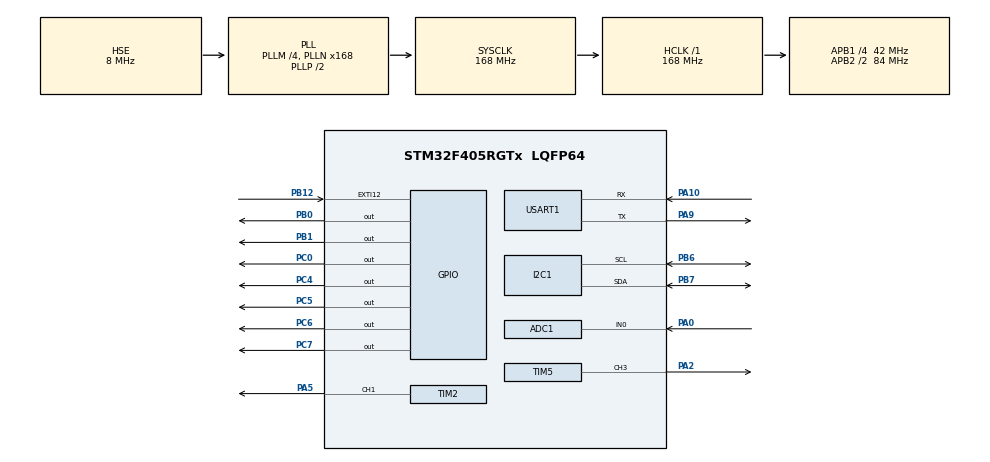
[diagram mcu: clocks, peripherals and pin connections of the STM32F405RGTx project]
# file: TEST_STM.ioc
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ADC1.Channel-2\#ChannelRegularConversion=ADC_CHANNEL_0
ADC1.ContinuousConvMode=ENABLE
ADC1.DMAContinuousRequests=ENABLE
ADC1.NbrOfConversionFlag=1
ADC1.Rank-2\#ChannelRegularConversion=1
ADC1.SamplingTime-2\#ChannelRegularConversion=ADC_SAMPLETIME_56CYCLES
ADC1.master=1
Dma.ADC1.0.Direction=DMA_PERIPH_TO_MEMORY
Dma.ADC1.0.FIFOMode=DMA_FIFOMODE_DISABLE
Dma.ADC1.0.Instance=DMA2_Stream0
Dma.ADC1.0.MemDataAlignment=DMA_MDATAALIGN_HALFWORD
Dma.ADC1.0.MemInc=DMA_MINC_ENABLE
Dma.ADC1.0.Mode=DMA_CIRCULAR
Dma.ADC1.0.PeriphDataAlignment=DMA_PDATAALIGN_HALFWORD
Dma.ADC1.0.PeriphInc=DMA_PINC_DISABLE
Dma.ADC1.0.Priority=DMA_PRIORITY_LOW
Dma.Request0=ADC1
I2C1.I2C_Mode=I2C_Fast
Mcu.Family=STM32F4
Mcu.Name=STM32F405RGTx
Mcu.Package=LQFP64
NVIC.DMA2_Stream0_IRQn=true\:0\:0\:false\:false\:true\:false\:true
NVIC.EXTI15_10_IRQn=true\:0\:0\:false\:false\:true\:true\:true
NVIC.PriorityGroup=NVIC_PRIORITYGROUP_4
NVIC.RCC_IRQn=true\:0\:0\:false\:false\:true\:true\:false
NVIC.USART1_IRQn=true\:0\:0\:false\:false\:true\:true\:true
PA0-WKUP.Signal=ADCx_IN0
PA10.Mode=Asynchronous
PA10.Signal=USART1_RX
PA13.Mode=Serial_Wire
PA13.Signal=SYS_JTMS-SWDIO
PA14.Mode=Serial_Wire
PA14.Signal=SYS_JTCK-SWCLK
PA2.Signal=S_TIM5_CH3
PA5.Signal=S_TIM2_CH1_ETR
PA9.Mode=Asynchronous
PA9.Signal=USART1_TX
PB0.Signal=GPIO_Output
PB1.Signal=GPIO_Output
PB12.Signal=GPXTI12
PB6.Mode=I2C
PB6.Signal=I2C1_SCL
PB7.Mode=I2C
PB7.Signal=I2C1_SDA
PC0.Signal=GPIO_Output
PC4.Signal=GPIO_Output
PC5.Signal=GPIO_Output
PC6.Signal=GPIO_Output
PC7.Signal=GPIO_Output
PH0-OSC_IN.Mode=HSE-External-Oscillator
PH0-OSC_IN.Signal=RCC_OSC_IN
PH1-OSC_OUT.Mode=HSE-External-Oscillator
PH1-OSC_OUT.Signal=RCC_OSC_OUT
ProjectManager.HeapSize=0x200
ProjectManager.StackSize=0x400
ProjectManager.TargetToolchain=EWARM V8.32
RCC.48MHZClocksFreq_Value=84000000
RCC.AHBFreq_Value=168000000
RCC.APB1CLKDivider=RCC_HCLK_DIV4
RCC.APB1Freq_Value=42000000
RCC.APB1TimFreq_Value=84000000
RCC.APB2CLKDivider=RCC_HCLK_DIV2
RCC.APB2Freq_Value=84000000
RCC.APB2TimFreq_Value=168000000
RCC.CortexFreq_Value=168000000
RCC.HCLKFreq_Value=168000000
RCC.HSE_VALUE=8000000
RCC.HSI_VALUE=16000000
RCC.LSE_VALUE=32768
RCC.PLLM=4
RCC.PLLN=168
RCC.PLLSourceVirtual=RCC_PLLSOURCE_HSE
RCC.SYSCLKFreq_VALUE=168000000
RCC.SYSCLKSource=RCC_SYSCLKSOURCE_PLLCLK
RCC.VCOOutputFreq_Value=336000000
SH.ADCx_IN0.0=ADC1_IN0,IN0
SH.S_TIM2_CH1_ETR.0=TIM2_CH1,PWM Generation1 CH1
SH.S_TIM5_CH3.0=TIM5_CH3,PWM Generation3 CH3
TIM2.Channel-PWM\ Generation1\ CH1=TIM_CHANNEL_1
TIM2.Period=100
TIM2.Prescaler=83
TIM5.Channel-PWM\ Generation3\ CH3=TIM_CHANNEL_3
USART1.VirtualMode=VM_ASYNC
VP_TIM2_VS_ClockSourceINT.Mode=Internal
VP_TIM5_VS_ClockSourceINT.Mode=Internal
board=custom

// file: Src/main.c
/* USER CODE BEGIN Header */
/**
  ******************************************************************************
  * @file           : main.c
  * @brief          : Main program body
  ******************************************************************************
  * @attention
  *
  * <h2><center>&copy; Copyright (c) 2020 STMicroelectronics.
  * All rights reserved.</center></h2>
  *
  * This software component is licensed by ST under BSD 3-Clause license,
  * the "License"; You may not use this file except in compliance with the
  * License. You may obtain a copy of the License at:
  *                        opensource.org/licenses/BSD-3-Clause
  *
  ******************************************************************************
  */
/* USER CODE END Header */

#include "main.h"
#include "adc.h"
#include "dma.h"
#include "i2c.h"
#include "tim.h"
#include "usart.h"
#include "gpio.h"

/* USER CODE BEGIN Includes */
#include "lcd.h"
#include "stdio.h"
/* USER CODE END Includes */

/* USER CODE BEGIN PD */
#define SHT2x_ADDR 0X40 << 1
#define SHT2x_HOLD_MASTER_T 0XE3
#define SHT2X_HOLD_MASTER_RH 0XE5
#define SHT2X_NOHOLD_MASTER_T 0XF3
#define SHT2X_NOHOLD_MASTER_RH 0XF5
#define SHT2X_WRITE_USER_REG 0XE6
#define SHT2X_READ_USER_REG 0XE7
#define SHT2x_SOFT_RESET 0XFE
/* USER CODE END PD */

/* USER CODE BEGIN PV */
uint16_t adcData = 0;
char str[10];

unsigned char Time_STOP = 0;
/* USER CODE END PV */

void SystemClock_Config(void);

int main(void)
{
  /* USER CODE BEGIN 1 */

  unsigned char text[] = "L. LED - PWM\r\nC. CDS- ADC(DMA) LCD 출력\r\nT. 온/습도센서 - I2C LCD 출력\r\nP. Digital Piano - PWM\r\npush s/w - STOP(Interrupt)\r\n";
  unsigned char input[] = "input >> ";
  unsigned char i = 0;
  uint8_t ch;
  uint8_t piano;

  unsigned int DoReMi[8] = {523, 587, 659, 698, 783, 880, 987, 1046};
  unsigned long pwmfreq;

  uint16_t CCR1_val = 0;

  uint8_t i2cData[2];
  uint16_t val = 0;
  uint8_t mode;
  float TEMP, HUMI;
  char strT[16];
  /* USER CODE END 1 */

  /* MCU Configuration--------------------------------------------------------*/

  /* Reset of all peripherals, Initializes the Flash interface and the Systick. */
  HAL_Init();

  /* Configure the system clock */
  SystemClock_Config();

  /* Initialize all configured peripherals */
  MX_GPIO_Init();
  MX_DMA_Init();
  MX_TIM2_Init();
  MX_USART1_UART_Init();
  MX_ADC1_Init();
  MX_I2C1_Init();
  MX_TIM5_Init();
  /* USER CODE BEGIN 2 */
  lcdInit();
  HAL_TIM_PWM_Start(&htim2, TIM_CHANNEL_1); //pwm led
  HAL_TIM_PWM_Start(&htim5, TIM_CHANNEL_3); //PIANO

  /* USER CODE END 2 */

  /* Infinite loop */
  /* USER CODE BEGIN WHILE */
  while (text[i] != '\0')
    HAL_UART_Transmit(&huart1, &text[i++], sizeof(text[i]), 10);

  i = 0;
  while (input[i] != '\0')
  {
    HAL_UART_Transmit(&huart1, &input[i++], sizeof(input[i]), 10);
  }

  while (1)
  {
    if (HAL_UART_Receive(&huart1, &ch, sizeof(ch), 10) == HAL_OK)
    {
      HAL_UART_Transmit(&huart1, &ch, sizeof(ch), 10);
      if (ch == 'L') //LED PWM
      {
        while (1)
        {
          if (Time_STOP == 0)
          {
            TIM2->CCR1 = CCR1_val;
            CCR1_val++;
            if (CCR1_val > 100)
              CCR1_val = 0;
            HAL_Delay(10);
          }
          else
          {
            TIM2->CCR1 = 0;
            Time_STOP = 0;
            break;
          }
        }
      }
      else if (ch == 'C')
      {
        HAL_ADC_Start_DMA(&hadc1, (uint32_t *)&adcData, sizeof(adcData)); //ADC DMA
        while (1)
        {
          if (Time_STOP == 0)
          {
            lcdGotoXY(0, 0);
            lcdPrintData("ADC DMA TEST", 12);

            sprintf(str, "ADC : %d", adcData);
            lcdGotoXY(0, 1);
            lcdPrint(str);
            //HAL_ADC_Stop_DMA(&hadc1);
            HAL_Delay(500);
          }
          else
          {
            Time_STOP = 0;
            lcdClear();
            break;
          }
        }
      }
      else if (ch == 'P') //PIANO
      {
        while (1)
        {
            if (HAL_UART_Receive(&huart1, &piano, sizeof(piano), 10) == HAL_OK)
            {
              HAL_UART_Transmit(&huart1, &piano, sizeof(piano), 10);
              if (piano == '0')
              {
                pwmfreq = 84000000 / DoReMi[0];
                TIM5->ARR = pwmfreq - 1;
                TIM5->CCR3 = pwmfreq / 2;
                HAL_Delay(300);
                TIM5->CCR3 = 0;
              }
              if (piano == '1')
              {
                pwmfreq = 84000000 / DoReMi[1];
                TIM5->ARR = pwmfreq - 1;
                TIM5->CCR3 = pwmfreq / 2;
                HAL_Delay(300);
                TIM5->CCR3 = 0;
              }
              if (piano == '2')
              {
                pwmfreq = 84000000 / DoReMi[2];
                TIM5->ARR = pwmfreq - 1;
                TIM5->CCR3 = pwmfreq / 2;
                HAL_Delay(300);
                TIM5->CCR3 = 0;
              }
              if (piano == '3')
              {
                pwmfreq = 84000000 / DoReMi[3];
                TIM5->ARR = pwmfreq - 1;
                TIM5->CCR3 = pwmfreq / 2;
                HAL_Delay(300);
                TIM5->CCR3 = 0;
              }
              if (piano == '4')
              {
                pwmfreq = 84000000 / DoReMi[4];
                TIM5->ARR = pwmfreq - 1;
                TIM5->CCR3 = pwmfreq / 2;
                HAL_Delay(300);
                TIM5->CCR3 = 0;
              }
              if (piano == '5')
              {
                pwmfreq = 84000000 / DoReMi[5];
                TIM5->ARR = pwmfreq - 1;
                TIM5->CCR3 = pwmfreq / 2;
                HAL_Delay(300);
                TIM5->CCR3 = 0;
              }
              if (piano == '6')
              {
                pwmfreq = 84000000 / DoReMi[6];
                TIM5->ARR = pwmfreq - 1;
                TIM5->CCR3 = pwmfreq / 2;
                HAL_Delay(300);
                TIM5->CCR3 = 0;
              }
              if (piano == '7')
              {
                pwmfreq = 84000000 / DoReMi[7];
                TIM5->ARR = pwmfreq - 1;
                TIM5->CCR3 = pwmfreq / 2;
                HAL_Delay(300);
                TIM5->CCR3 = 0;
              }
              if(piano <'0' || piano > '7')
              {
                break;
              }
            }
          }
         }
              HAL_UART_Transmit(&huart1, &piano, sizeof(piano), 10);
              if (piano == '0')
              {
                pwmfreq = 84000000 / DoReMi[0];
                TIM5->ARR = pwmfreq - 1;
                TIM5->CCR3 = pwmfreq / 2;
                HAL_Delay(300);
                TIM5->CCR3 = 0;
              }
              if (piano == '1')
              {
                pwmfreq = 84000000 / DoReMi[1];
                TIM5->ARR = pwmfreq - 1;
                TIM5->CCR3 = pwmfreq / 2;
                HAL_Delay(300);
                TIM5->CCR3 = 0;
              }
              if (piano == '2')
              {
                pwmfreq = 84000000 / DoReMi[2];
                TIM5->ARR = pwmfreq - 1;
                TIM5->CCR3 = pwmfreq / 2;
                HAL_Delay(300);
                TIM5->CCR3 = 0;
              }
              if (piano == '3')
              {
                pwmfreq = 84000000 / DoReMi[3];
                TIM5->ARR = pwmfreq - 1;
                TIM5->CCR3 = pwmfreq / 2;
                HAL_Delay(300);
                TIM5->CCR3 = 0;
              }
              if (piano == '4')
              {
                pwmfreq = 84000000 / DoReMi[4];
                TIM5->ARR = pwmfreq - 1;
                TIM5->CCR3 = pwmfreq / 2;
                HAL_Delay(300);
                TIM5->CCR3 = 0;
              }
              if (piano == '5')
              {
                pwmfreq = 84000000 / DoReMi[5];
                TIM5->ARR = pwmfreq - 1;
                TIM5->CCR3 = pwmfreq / 2;
                HAL_Delay(300);
                TIM5->CCR3 = 0;
              }
              if (piano == '6')
              {
                pwmfreq = 84000000 / DoReMi[6];
                TIM5->ARR = pwmfreq - 1;
                TIM5->CCR3 = pwmfreq / 2;
                HAL_Delay(300);
                TIM5->CCR3 = 0;
              }
              if (piano == '7')
              {
                pwmfreq = 84000000 / DoReMi[7];
                TIM5->ARR = pwmfreq - 1;
                TIM5->CCR3 = pwmfreq / 2;
                HAL_Delay(300);
                TIM5->CCR3 = 0;
              }
            }

        else if (ch == 'T')
        {
          while (Time_STOP == 0)
          {
              mode = SHT2X_NOHOLD_MASTER_T;
              HAL_I2C_Master_Transmit(&hi2c1, SHT2x_ADDR, &mode, 1, 10);
              HAL_Delay(100);
              HAL_I2C_Master_Receive(&hi2c1, SHT2x_ADDR, i2cData, 2, 10);
              val = i2cData[0] << 8 | i2cData[1];
              TEMP = -46.85 + 175.72 * ((float)val / 65536);
              lcdGotoXY(0, 0);
              sprintf(strT, "TEMP : %5.1lf", TEMP);
              lcdPrint(strT);

              mode = SHT2X_NOHOLD_MASTER_RH;
              HAL_I2C_Master_Transmit(&hi2c1, SHT2x_ADDR, &mode, 1, 10);
              HAL_Delay(100);
              HAL_I2C_Master_Receive(&hi2c1, SHT2x_ADDR, i2cData, 2, 10);
              val = i2cData[0] << 8 | i2cData[1];
              HUMI = -6 + 125 * ((float)val / 65536);
              lcdGotoXY(0, 1);
              sprintf(strT, "HUMI : %5.1lf", HUMI);
              lcdPrint(strT);
          }
              lcdClear();
              Time_STOP = 0;
        }
      }

    /* USER CODE END WHILE */

}

void SystemClock_Config(void)
{
  RCC_OscInitTypeDef RCC_OscInitStruct = {0};
  RCC_ClkInitTypeDef RCC_ClkInitStruct = {0};

  /** Configure the main internal regulator output voltage
  */
  __HAL_RCC_PWR_CLK_ENABLE();
  __HAL_PWR_VOLTAGESCALING_CONFIG(PWR_REGULATOR_VOLTAGE_SCALE1);
  /** Initializes the CPU, AHB and APB busses clocks
  */
  RCC_OscInitStruct.OscillatorType = RCC_OSCILLATORTYPE_HSE;
  RCC_OscInitStruct.HSEState = RCC_HSE_ON;
  RCC_OscInitStruct.PLL.PLLState = RCC_PLL_ON;
  RCC_OscInitStruct.PLL.PLLSource = RCC_PLLSOURCE_HSE;
  RCC_OscInitStruct.PLL.PLLM = 4;
  RCC_OscInitStruct.PLL.PLLN = 168;
  RCC_OscInitStruct.PLL.PLLP = RCC_PLLP_DIV2;
  RCC_OscInitStruct.PLL.PLLQ = 4;
  if (HAL_RCC_OscConfig(&RCC_OscInitStruct) != HAL_OK)
  {
    Error_Handler();
  }
  /** Initializes the CPU, AHB and APB busses clocks
  */
  RCC_ClkInitStruct.ClockType = RCC_CLOCKTYPE_HCLK|RCC_CLOCKTYPE_SYSCLK
                              |RCC_CLOCKTYPE_PCLK1|RCC_CLOCKTYPE_PCLK2;
  RCC_ClkInitStruct.SYSCLKSource = RCC_SYSCLKSOURCE_PLLCLK;
  RCC_ClkInitStruct.AHBCLKDivider = RCC_SYSCLK_DIV1;
  RCC_ClkInitStruct.APB1CLKDivider = RCC_HCLK_DIV4;
  RCC_ClkInitStruct.APB2CLKDivider = RCC_HCLK_DIV2;

  if (HAL_RCC_ClockConfig(&RCC_ClkInitStruct, FLASH_LATENCY_5) != HAL_OK)
  {
    Error_Handler();
  }
}

/* USER CODE BEGIN 4 */
void HAL_GPIO_EXTI_Callback(uint16_t GPIO_Pin)
{
  if (Time_STOP == 0)
    Time_STOP = 1;
  else
    Time_STOP = 0;
}
/* USER CODE END 4 */

void Error_Handler(void)
{
}

/************************ (C) COPYRIGHT STMicroelectronics *****END OF FILE****/
